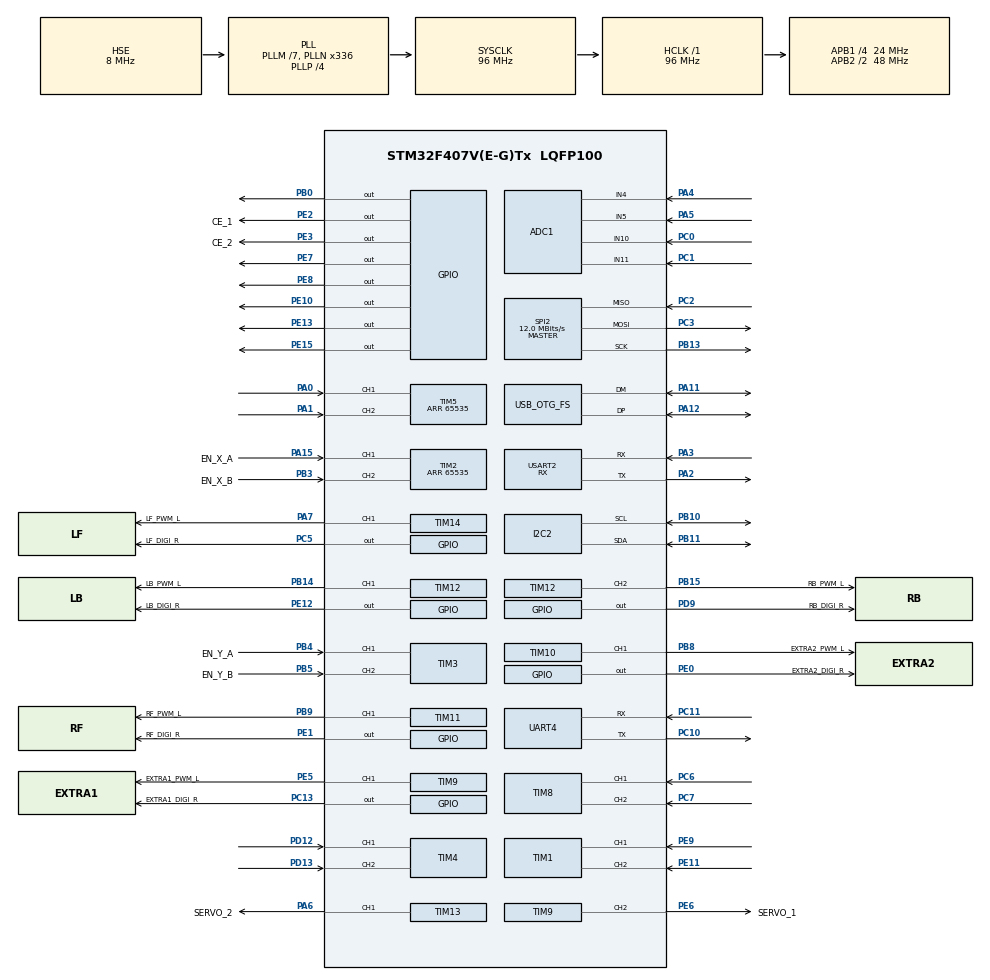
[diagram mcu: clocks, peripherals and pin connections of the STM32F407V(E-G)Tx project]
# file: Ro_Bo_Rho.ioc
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ADC1.Channel-3\#ChannelRegularConversion=ADC_CHANNEL_4
ADC1.NbrOfConversionFlag=1
ADC1.Rank-3\#ChannelRegularConversion=1
ADC1.SamplingTime-3\#ChannelRegularConversion=ADC_SAMPLETIME_3CYCLES
ADC1.master=1
I2C2.I2C_Mode=I2C_Fast
Mcu.Family=STM32F4
Mcu.Name=STM32F407V(E-G)Tx
Mcu.Package=LQFP100
NVIC.OTG_FS_IRQn=true\:0\:0\:false\:false\:true\:false\:true\:true
NVIC.PriorityGroup=NVIC_PRIORITYGROUP_4
NVIC.USART2_IRQn=true\:0\:0\:false\:false\:true\:true\:true\:true
PA0-WKUP.GPIO_PuPd=GPIO_PULLDOWN
PA0-WKUP.GPIO_Speed=GPIO_SPEED_FREQ_VERY_HIGH
PA0-WKUP.Signal=S_TIM5_CH1
PA1.GPIO_PuPd=GPIO_PULLDOWN
PA1.GPIO_Speed=GPIO_SPEED_FREQ_VERY_HIGH
PA1.Signal=S_TIM5_CH2
PA11.Mode=Device_Only
PA11.Signal=USB_OTG_FS_DM
PA12.Mode=Device_Only
PA12.Signal=USB_OTG_FS_DP
PA15.GPIO_Label=EN_X_A
PA15.GPIO_PuPd=GPIO_NOPULL
PA15.Signal=S_TIM2_CH1_ETR
PA2.Mode=Asynchronous
PA2.Signal=USART2_TX
PA3.Mode=Asynchronous
PA3.Signal=USART2_RX
PA4.Signal=ADCx_IN4
PA5.Signal=ADCx_IN5
PA6.GPIO_Label=SERVO_2
PA6.Signal=S_TIM13_CH1
PA7.GPIO_Label=LF_PWM_L
PA7.Signal=S_TIM14_CH1
PB0.Signal=GPIO_Output
PB10.Mode=I2C
PB10.Signal=I2C2_SCL
PB11.Mode=I2C
PB11.Signal=I2C2_SDA
PB13.Mode=Full_Duplex_Master
PB13.Signal=SPI2_SCK
PB14.GPIO_Label=LB_PWM_L
PB14.Signal=S_TIM12_CH1
PB15.GPIO_Label=RB_PWM_L
PB15.Signal=S_TIM12_CH2
PB3.GPIO_Label=EN_X_B
PB3.Signal=S_TIM2_CH2
PB4.GPIO_Label=EN_Y_A
PB4.GPIO_PuPd=GPIO_PULLDOWN
PB4.Signal=S_TIM3_CH1
PB5.GPIO_Label=EN_Y_B
PB5.GPIO_PuPd=GPIO_PULLDOWN
PB5.Signal=S_TIM3_CH2
PB8.GPIO_Label=EXTRA2_PWM_L
PB8.Signal=S_TIM10_CH1
PB9.GPIO_Label=RF_PWM_L
PB9.Signal=S_TIM11_CH1
PC0.Signal=ADCx_IN10
PC1.Signal=ADCx_IN11
PC10.Mode=Asynchronous
PC10.Signal=UART4_TX
PC11.Mode=Asynchronous
PC11.Signal=UART4_RX
PC13-ANTI_TAMP.GPIO_Label=EXTRA1_DIGI_R
PC13-ANTI_TAMP.Signal=GPIO_Output
PC14-OSC32_IN.Mode=LSE-External-Oscillator
PC14-OSC32_IN.Signal=RCC_OSC32_IN
PC15-OSC32_OUT.Mode=LSE-External-Oscillator
PC15-OSC32_OUT.Signal=RCC_OSC32_OUT
PC2.Mode=Full_Duplex_Master
PC2.Signal=SPI2_MISO
PC3.Mode=Full_Duplex_Master
PC3.Signal=SPI2_MOSI
PC5.GPIO_Label=LF_DIGI_R
PC5.Signal=GPIO_Output
PC6.GPIO_PuPd=GPIO_PULLDOWN
PC6.GPIO_Speed=GPIO_SPEED_FREQ_VERY_HIGH
PC6.Signal=S_TIM8_CH1
PC7.GPIO_PuPd=GPIO_PULLDOWN
PC7.GPIO_Speed=GPIO_SPEED_FREQ_VERY_HIGH
PC7.Signal=S_TIM8_CH2
PD12.GPIO_Speed=GPIO_SPEED_FREQ_VERY_HIGH
PD12.Signal=S_TIM4_CH1
PD13.GPIO_Speed=GPIO_SPEED_FREQ_VERY_HIGH
PD13.Signal=S_TIM4_CH2
PD9.GPIO_Label=RB_DIGI_R
PD9.Signal=GPIO_Output
PE0.GPIO_Label=EXTRA2_DIGI_R
PE0.Signal=GPIO_Output
PE1.GPIO_Label=RF_DIGI_R
PE1.Signal=GPIO_Output
PE10.Signal=GPIO_Output
PE11.GPIO_PuPd=GPIO_PULLDOWN
PE11.GPIO_Speed=GPIO_SPEED_FREQ_VERY_HIGH
PE11.Signal=S_TIM1_CH2
PE12.GPIO_Label=LB_DIGI_R
PE12.Signal=GPIO_Output
PE13.Signal=GPIO_Output
PE15.Signal=GPIO_Output
PE2.GPIO_Label=CE_1
PE2.Signal=GPIO_Output
PE3.GPIO_Label=CE_2
PE3.Signal=GPIO_Output
PE5.GPIO_Label=EXTRA1_PWM_L
PE5.Signal=S_TIM9_CH1
PE6.GPIO_Label=SERVO_1
PE6.Signal=S_TIM9_CH2
PE7.Signal=GPIO_Output
PE8.Signal=GPIO_Output
PE9.GPIO_ModeDefaultPP=GPIO_MODE_AF_PP
PE9.GPIO_PuPd=GPIO_PULLDOWN
PE9.GPIO_Speed=GPIO_SPEED_FREQ_VERY_HIGH
PE9.Signal=S_TIM1_CH1
PH0-OSC_IN.Mode=HSE-External-Oscillator
PH0-OSC_IN.Signal=RCC_OSC_IN
PH1-OSC_OUT.Mode=HSE-External-Oscillator
PH1-OSC_OUT.Signal=RCC_OSC_OUT
ProjectManager.HeapSize=0x200
ProjectManager.StackSize=0x400
ProjectManager.TargetToolchain=STM32CubeIDE
RCC.48MHZClocksFreq_Value=48000000.00000001
RCC.AHBFreq_Value=96000000.00000001
RCC.APB1CLKDivider=RCC_HCLK_DIV4
RCC.APB1Freq_Value=24000000.000000004
RCC.APB1TimFreq_Value=48000000.00000001
RCC.APB2CLKDivider=RCC_HCLK_DIV2
RCC.APB2Freq_Value=48000000.00000001
RCC.APB2TimFreq_Value=96000000.00000001
RCC.CortexFreq_Value=96000000.00000001
RCC.HCLKFreq_Value=96000000.00000001
RCC.HSE_VALUE=8000000
RCC.HSI_VALUE=16000000
RCC.PLLM=7
RCC.PLLN=336
RCC.PLLP=RCC_PLLP_DIV4
RCC.PLLQ=8
RCC.SYSCLKFreq_VALUE=96000000.00000001
RCC.SYSCLKSource=RCC_SYSCLKSOURCE_PLLCLK
RCC.VCOOutputFreq_Value=384000000.00000006
SH.ADCx_IN10.0=ADC1_IN10,IN10
SH.ADCx_IN11.0=ADC1_IN11,IN11
SH.ADCx_IN4.0=ADC1_IN4,IN4
SH.ADCx_IN5.0=ADC1_IN5,IN5
SH.S_TIM10_CH1.0=TIM10_CH1,PWM Generation1 CH1
SH.S_TIM11_CH1.0=TIM11_CH1,PWM Generation1 CH1
SH.S_TIM12_CH1.0=TIM12_CH1,PWM Generation1 CH1
SH.S_TIM12_CH2.0=TIM12_CH2,PWM Generation2 CH2
SH.S_TIM13_CH1.0=TIM13_CH1,PWM Generation1 CH1
SH.S_TIM14_CH1.0=TIM14_CH1,PWM Generation1 CH1
SH.S_TIM1_CH1.0=TIM1_CH1,Encoder_Interface
SH.S_TIM1_CH2.0=TIM1_CH2,Encoder_Interface
SH.S_TIM2_CH1_ETR.0=TIM2_CH1,Encoder_Interface
SH.S_TIM2_CH2.0=TIM2_CH2,Encoder_Interface
SH.S_TIM3_CH1.0=TIM3_CH1,Encoder_Interface
SH.S_TIM3_CH2.0=TIM3_CH2,Encoder_Interface
SH.S_TIM4_CH1.0=TIM4_CH1,Encoder_Interface
SH.S_TIM4_CH2.0=TIM4_CH2,Encoder_Interface
SH.S_TIM5_CH1.0=TIM5_CH1,Encoder_Interface
SH.S_TIM5_CH2.0=TIM5_CH2,Encoder_Interface
SH.S_TIM8_CH1.0=TIM8_CH1,Encoder_Interface
SH.S_TIM8_CH2.0=TIM8_CH2,Encoder_Interface
SH.S_TIM9_CH1.0=TIM9_CH1,PWM Generation1 CH1
SH.S_TIM9_CH2.0=TIM9_CH2,PWM Generation2 CH2
SPI2.CalculateBaudRate=12.0 MBits/s
SPI2.Direction=SPI_DIRECTION_2LINES
SPI2.Mode=SPI_MODE_MASTER
SPI2.VirtualType=VM_MASTER
TIM1.EncoderMode=TIM_ENCODERMODE_TI12
TIM10.Channel=TIM_CHANNEL_1
TIM10.Period=4096-1
TIM10.Prescaler=2-1
TIM11.Channel=TIM_CHANNEL_1
TIM11.Period=4096-1
TIM11.Prescaler=2-1
TIM12.Channel-PWM\ Generation1\ CH1=TIM_CHANNEL_1
TIM12.Channel-PWM\ Generation2\ CH2=TIM_CHANNEL_2
TIM12.Period=4096-1
TIM12.Prescaler=2-1
TIM13.Channel=TIM_CHANNEL_1
TIM13.Period=4096-1
TIM13.Prescaler=2-1
TIM14.Channel=TIM_CHANNEL_1
TIM14.Period=4096-1
TIM14.Prescaler=2-1
TIM2.EncoderMode=TIM_ENCODERMODE_TI12
TIM2.Period=65535
TIM3.EncoderMode=TIM_ENCODERMODE_TI12
TIM4.EncoderMode=TIM_ENCODERMODE_TI12
TIM5.EncoderMode=TIM_ENCODERMODE_TI12
TIM5.Period=65535
TIM8.EncoderMode=TIM_ENCODERMODE_TI12
TIM9.Channel-PWM\ Generation1\ CH1=TIM_CHANNEL_1
TIM9.Channel-PWM\ Generation2\ CH2=TIM_CHANNEL_2
TIM9.Period=4096-1
TIM9.Prescaler=2-1
UART4.VirtualMode=Asynchronous
USART2.Mode=MODE_RX
USART2.VirtualMode=VM_ASYNC
USB_DEVICE.CLASS_NAME_FS=CDC
USB_DEVICE.VirtualMode-CDC_FS=Cdc
USB_DEVICE.VirtualModeFS=Cdc_FS
USB_OTG_FS.VirtualMode=Device_Only
VP_TIM10_VS_ClockSourceINT.Mode=Enable_Timer
VP_TIM11_VS_ClockSourceINT.Mode=Enable_Timer
VP_TIM13_VS_ClockSourceINT.Mode=Enable_Timer
VP_TIM14_VS_ClockSourceINT.Mode=Enable_Timer
VP_USB_DEVICE_VS_USB_DEVICE_CDC_FS.Mode=CDC_FS
board=custom

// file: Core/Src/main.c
/* USER CODE BEGIN Header */
/**
  ******************************************************************************
  * @file           : main.c
  * @brief          : Main program body
  ******************************************************************************
  * @attention
  *
  * Copyright (c) 2024 STMicroelectronics.
  * All rights reserved.
  *
  * This software is licensed under terms that can be found in the LICENSE file
  * in the root directory of this software component.
  * If no LICENSE file comes with this software, it is provided AS-IS.
  *
  ******************************************************************************
  */
/* USER CODE END Header */
#include "main.h"
#include "usb_device.h"

/* USER CODE BEGIN Includes */
#include "string.h"

#include "app_ros_comm.h"

//#include "usbd_cdc_if.h"
//#include "MPU6050.h"
//#include "Encoder_Motor.h"

#include "Inverse_Kinematics.h"

#include "Forward_Kinematics.h"

//#include <Ramp_Robot.h>
/* USER CODE END Includes */

ADC_HandleTypeDef hadc1;

I2C_HandleTypeDef hi2c2;

SPI_HandleTypeDef hspi2;

TIM_HandleTypeDef htim1;
TIM_HandleTypeDef htim2;
TIM_HandleTypeDef htim3;
TIM_HandleTypeDef htim4;
TIM_HandleTypeDef htim5;
TIM_HandleTypeDef htim8;
TIM_HandleTypeDef htim9;
TIM_HandleTypeDef htim10;
TIM_HandleTypeDef htim11;
TIM_HandleTypeDef htim12;
TIM_HandleTypeDef htim13;
TIM_HandleTypeDef htim14;

UART_HandleTypeDef huart4;
UART_HandleTypeDef huart2;

void SystemClock_Config(void);
static void MX_GPIO_Init(void);
static void MX_TIM2_Init(void);
static void MX_TIM4_Init(void);
static void MX_ADC1_Init(void);
static void MX_SPI2_Init(void);
static void MX_TIM1_Init(void);
static void MX_TIM8_Init(void);
static void MX_TIM9_Init(void);
static void MX_TIM10_Init(void);
static void MX_TIM11_Init(void);
static void MX_TIM12_Init(void);
static void MX_TIM13_Init(void);
static void MX_TIM14_Init(void);
static void MX_USART2_UART_Init(void);
static void MX_UART4_Init(void);
static void MX_I2C2_Init(void);
static void MX_TIM3_Init(void);
static void MX_TIM5_Init(void);

/* USER CODE BEGIN 0 */

int16_t count[6] = { 0 }; //LF ,LB ,RF ,RB ,EXTRA1 ,EXTRA2

int16_t RPM[6] = { 48 }; //LF ,LB ,RF ,RB ,EXTRA1 ,EXTRA2

float Vx = 0.0f;
float Vy = 0.0f;
float Vz = 0.0f;

uint8_t addr;
float Deg = 0;

long PastTime = 0;

float PID[6] = { 0 };

typedef struct {
    uint8_t move[4];
    uint8_t attack[8];
    uint8_t seting[2];
    uint8_t stickValues[4];
}ControllerData;

ControllerData Str_PS2;

uint8_t status_load_Ball;
uint8_t status_re_Ball;

uint8_t lastButtonState_load_Ball = 0;
uint8_t lastButtonState_re_Ball = 0;

//uint8_t *data = "Hello World from USB CDC\n";
//uint8_t buffer[64];
//ros_rbc_ioPacket_t  rbc_Packet_t;

/* USER CODE END 0 */

int main(void)
{

  /* MCU Configuration--------------------------------------------------------*/

  /* Reset of all peripherals, Initializes the Flash interface and the Systick. */
  HAL_Init();

  /* Configure the system clock */
  SystemClock_Config();

  /* Initialize all configured peripherals */
  MX_GPIO_Init();
  MX_TIM2_Init();
  MX_TIM4_Init();
  MX_ADC1_Init();
  MX_SPI2_Init();
  MX_TIM1_Init();
  MX_TIM8_Init();
  MX_TIM9_Init();
  MX_TIM10_Init();
  MX_TIM11_Init();
  MX_TIM12_Init();
  MX_TIM13_Init();
  MX_TIM14_Init();
  MX_USART2_UART_Init();
  MX_USB_DEVICE_Init();
  MX_UART4_Init();
  MX_I2C2_Init();
  MX_TIM3_Init();
  MX_TIM5_Init();
  /* USER CODE BEGIN 2 */
   Motor_setup_LF(&htim14   ,&htim5    ,"PC05");
   Motor_setup_LB(&htim12   ,&htim1    ,"PE12");
   Motor_setup_RF(&htim11   ,&htim8    ,"PE01");
   Motor_setup_RB(&htim12   ,&htim4    ,"PD09");
   Motor_setup_EXTRA1(&htim9,&htim3    ,"PC13");
   Motor_setup_EXTRA2(&htim10,&htim2   ,"PE00");

   Setup_Gear_Ratio(27);
   Setup_CPR(68);
   Setup_frequency_Motor(100);

   Setup_PID_LF(1.0 ,0.0 ,0.1 ,0 ,280);
   Setup_PID_LB(1.0 ,0.0 ,0.1 ,0 ,280);
   Setup_PID_RF(1.0 ,0.0 ,0.1 ,0 ,280);
   Setup_PID_RB(1.0 ,0.0 ,0.1 ,0 ,280);
//   Setup_PID_EXTRA1(0.5 ,0.1 ,0 ,0 ,280);
//   Setup_PID_EXTRA2(0.5 ,0.1 ,0 ,0 ,280);

   Setup_frequency_Forward_Kinematic(100);
   Setup_Forward_Kinematic(0.23f ,0.23f ,0.06f);

   Setup_Inverse_Kinematic(0.23f ,0.23f ,0.06f);

   //UAST2 esp_s3_zero to STM32
   HAL_UART_Receive_IT(&huart2, (uint8_t *)&Str_PS2, sizeof(Str_PS2));

   Setup_MPU6050(&hi2c2);

  /* USER CODE END 2 */

  /* Infinite loop */
  while (1)
  {

    /* USER CODE BEGIN 3 */

//	  CDC_Transmit_FS((uint8_t*)RPM ,6);
//	  HAL_Delay(1000);

	  if((uwTick - PastTime) > 10){
         if(Str_PS2.seting[1] == 1){
//		 addr = Scan_I2C(&hi2c2);

		 ReadMPU6050();
//		 app_ros_comm_runner();
//		 app_ros_comm_txPoll();

//		 Deg = getDegreeZ();

//	     Motor_DutyCycle_LF(4000);
//		 Motor_DutyCycle_LB(4000);
//		 Motor_DutyCycle_RF(-4000);
//		 Motor_DutyCycle_RB(-4000);
//	     Motor_DutyCycle_EXTRA1(4000);
//	     Motor_DutyCycle_EXTRA2(-4000);

//	    count[0] = getCount(&htim5);
//	    count[1] = getCount(&htim1);
//	    count[2] = getCount(&htim8);
//	    count[3] = getCount(&htim4);
//	    count[4] = getCount(&htim2);
//	    count[5] = getCount(&htim3);

	    RPM[0] = getRPM_TIM_Wheel(&htim5 ,LF);
	    RPM[1] = -getRPM_TIM_Wheel(&htim1 ,LB);
	    RPM[2] = getRPM_TIM_Wheel(&htim8 ,RF);
	    RPM[3] = getRPM_TIM_Wheel(&htim4 ,RB);

//	    RPM[4] = getRPM_TIM_Wheel(&htim3 ,EXTRA1);
//	    RPM[5] = getRPM_TIM_Wheel(&htim2 ,EXTRA2);

//		Odometry_Forward_Kinematic(getRPM_to_Rad_s(RPM[0]), getRPM_to_Rad_s(RPM[1]), getRPM_to_Rad_s(RPM[2]), getRPM_to_Rad_s(RPM[3]));
//		x = get_Vz();

	    Inverse_Kinematic(Vx ,Vy ,Vz);

	    PID[0] = Motor_Speed_LF(getRad_s_to_RPM(get_w_LF()) ,RPM[0]);
	    PID[1] = Motor_Speed_LB(getRad_s_to_RPM(get_w_LB()) ,RPM[1]);
	    PID[2] = Motor_Speed_RF(getRad_s_to_RPM(get_w_RF()) ,RPM[2]);
	    PID[3] = Motor_Speed_RB(getRad_s_to_RPM(get_w_RB()) ,RPM[3]);

//	    PID[0] = Motor_Speed_LF(-180 ,RPM[0]);
//	    PID[1] = Motor_Speed_LB(-180 ,RPM[1]);
//	    PID[2] = Motor_Speed_RF(-180 ,RPM[2]);
//	    PID[3] = Motor_Speed_RB(-180 ,RPM[3]);

	    if ((Str_PS2.attack[2] == 1) && (lastButtonState_load_Ball == 0)) {
	    	status_load_Ball = !status_load_Ball;
	        digitalWrite("PE10", status_load_Ball);
	    }
	    lastButtonState_load_Ball = Str_PS2.attack[2];

	    if ((Str_PS2.attack[1] == 1) && (lastButtonState_re_Ball == 0)) {
	    	status_re_Ball = !status_re_Ball;
	   	    digitalWrite("PE08", status_re_Ball);
	   	 }
	    lastButtonState_re_Ball = Str_PS2.attack[1];

	   	 if(Str_PS2.attack[5] == 1){
	   	    Motor_DutyCycle_EXTRA1(-2000);
	   	 }else if(Str_PS2.attack[7] == 1){
	   	    Motor_DutyCycle_EXTRA1(2000);
	   	 }else{
	   		Motor_DutyCycle_EXTRA1(0);
	   	 }

	   	 if(Str_PS2.attack[3] == 1){
	   	    Motor_DutyCycle_EXTRA2(4000);
	   	 }else if(Str_PS2.attack[0] == 1){
		   	Motor_DutyCycle_EXTRA2(-4000);
		 }else{
	   		Motor_DutyCycle_EXTRA2(0);
	   	 }

         }else{
        	 Motor_DutyCycle_LF(0);
        	 Motor_DutyCycle_LB(0);
        	 Motor_DutyCycle_RF(0);
        	 Motor_DutyCycle_RB(0);
        	 Motor_DutyCycle_EXTRA1(0);
        	 Motor_DutyCycle_EXTRA2(0);
         }
	    PastTime = uwTick;
	  }

  }
  /* USER CODE END 3 */
}

void SystemClock_Config(void)
{
  RCC_OscInitTypeDef RCC_OscInitStruct = {0};
  RCC_ClkInitTypeDef RCC_ClkInitStruct = {0};

  /** Configure the main internal regulator output voltage
  */
  __HAL_RCC_PWR_CLK_ENABLE();
  __HAL_PWR_VOLTAGESCALING_CONFIG(PWR_REGULATOR_VOLTAGE_SCALE1);

  /** Initializes the RCC Oscillators according to the specified parameters
  * in the RCC_OscInitTypeDef structure.
  */
  RCC_OscInitStruct.OscillatorType = RCC_OSCILLATORTYPE_HSE;
  RCC_OscInitStruct.HSEState = RCC_HSE_ON;
  RCC_OscInitStruct.PLL.PLLState = RCC_PLL_ON;
  RCC_OscInitStruct.PLL.PLLSource = RCC_PLLSOURCE_HSE;
  RCC_OscInitStruct.PLL.PLLM = 7;
  RCC_OscInitStruct.PLL.PLLN = 336;
  RCC_OscInitStruct.PLL.PLLP = RCC_PLLP_DIV4;
  RCC_OscInitStruct.PLL.PLLQ = 8;
  if (HAL_RCC_OscConfig(&RCC_OscInitStruct) != HAL_OK)
  {
    Error_Handler();
  }

  /** Initializes the CPU, AHB and APB buses clocks
  */
  RCC_ClkInitStruct.ClockType = RCC_CLOCKTYPE_HCLK|RCC_CLOCKTYPE_SYSCLK
                              |RCC_CLOCKTYPE_PCLK1|RCC_CLOCKTYPE_PCLK2;
  RCC_ClkInitStruct.SYSCLKSource = RCC_SYSCLKSOURCE_PLLCLK;
  RCC_ClkInitStruct.AHBCLKDivider = RCC_SYSCLK_DIV1;
  RCC_ClkInitStruct.APB1CLKDivider = RCC_HCLK_DIV4;
  RCC_ClkInitStruct.APB2CLKDivider = RCC_HCLK_DIV2;

  if (HAL_RCC_ClockConfig(&RCC_ClkInitStruct, FLASH_LATENCY_3) != HAL_OK)
  {
    Error_Handler();
  }
}

static void MX_ADC1_Init(void)
{

  ADC_ChannelConfTypeDef sConfig = {0};

  /** Configure the global features of the ADC (Clock, Resolution, Data Alignment and number of conversion)
  */
  hadc1.Instance = ADC1;
  hadc1.Init.ClockPrescaler = ADC_CLOCK_SYNC_PCLK_DIV2;
  hadc1.Init.Resolution = ADC_RESOLUTION_12B;
  hadc1.Init.ScanConvMode = DISABLE;
  hadc1.Init.ContinuousConvMode = DISABLE;
  hadc1.Init.DiscontinuousConvMode = DISABLE;
  hadc1.Init.ExternalTrigConvEdge = ADC_EXTERNALTRIGCONVEDGE_NONE;
  hadc1.Init.ExternalTrigConv = ADC_SOFTWARE_START;
  hadc1.Init.DataAlign = ADC_DATAALIGN_RIGHT;
  hadc1.Init.NbrOfConversion = 1;
  hadc1.Init.DMAContinuousRequests = DISABLE;
  hadc1.Init.EOCSelection = ADC_EOC_SINGLE_CONV;
  if (HAL_ADC_Init(&hadc1) != HAL_OK)
  {
    Error_Handler();
  }

  /** Configure for the selected ADC regular channel its corresponding rank in the sequencer and its sample time.
  */
  sConfig.Channel = ADC_CHANNEL_4;
  sConfig.Rank = 1;
  sConfig.SamplingTime = ADC_SAMPLETIME_3CYCLES;
  if (HAL_ADC_ConfigChannel(&hadc1, &sConfig) != HAL_OK)
  {
    Error_Handler();
  }

}

static void MX_I2C2_Init(void)
{

  hi2c2.Instance = I2C2;
  hi2c2.Init.ClockSpeed = 400000;
  hi2c2.Init.DutyCycle = I2C_DUTYCYCLE_2;
  hi2c2.Init.OwnAddress1 = 0;
  hi2c2.Init.AddressingMode = I2C_ADDRESSINGMODE_7BIT;
  hi2c2.Init.DualAddressMode = I2C_DUALADDRESS_DISABLE;
  hi2c2.Init.OwnAddress2 = 0;
  hi2c2.Init.GeneralCallMode = I2C_GENERALCALL_DISABLE;
  hi2c2.Init.NoStretchMode = I2C_NOSTRETCH_DISABLE;
  if (HAL_I2C_Init(&hi2c2) != HAL_OK)
  {
    Error_Handler();
  }

}

static void MX_SPI2_Init(void)
{

  /* SPI2 parameter configuration*/
  hspi2.Instance = SPI2;
  hspi2.Init.Mode = SPI_MODE_MASTER;
  hspi2.Init.Direction = SPI_DIRECTION_2LINES;
  hspi2.Init.DataSize = SPI_DATASIZE_8BIT;
  hspi2.Init.CLKPolarity = SPI_POLARITY_LOW;
  hspi2.Init.CLKPhase = SPI_PHASE_1EDGE;
  hspi2.Init.NSS = SPI_NSS_SOFT;
  hspi2.Init.BaudRatePrescaler = SPI_BAUDRATEPRESCALER_2;
  hspi2.Init.FirstBit = SPI_FIRSTBIT_MSB;
  hspi2.Init.TIMode = SPI_TIMODE_DISABLE;
  hspi2.Init.CRCCalculation = SPI_CRCCALCULATION_DISABLE;
  hspi2.Init.CRCPolynomial = 10;
  if (HAL_SPI_Init(&hspi2) != HAL_OK)
  {
    Error_Handler();
  }

}

static void MX_TIM1_Init(void)
{

  TIM_Encoder_InitTypeDef sConfig = {0};
  TIM_MasterConfigTypeDef sMasterConfig = {0};

  htim1.Instance = TIM1;
  htim1.Init.Prescaler = 0;
  htim1.Init.CounterMode = TIM_COUNTERMODE_UP;
  htim1.Init.Period = 65535;
  htim1.Init.ClockDivision = TIM_CLOCKDIVISION_DIV1;
  htim1.Init.RepetitionCounter = 0;
  htim1.Init.AutoReloadPreload = TIM_AUTORELOAD_PRELOAD_DISABLE;
  sConfig.EncoderMode = TIM_ENCODERMODE_TI12;
  sConfig.IC1Polarity = TIM_ICPOLARITY_RISING;
  sConfig.IC1Selection = TIM_ICSELECTION_DIRECTTI;
  sConfig.IC1Prescaler = TIM_ICPSC_DIV1;
  sConfig.IC1Filter = 0;
  sConfig.IC2Polarity = TIM_ICPOLARITY_RISING;
  sConfig.IC2Selection = TIM_ICSELECTION_DIRECTTI;
  sConfig.IC2Prescaler = TIM_ICPSC_DIV1;
  sConfig.IC2Filter = 0;
  if (HAL_TIM_Encoder_Init(&htim1, &sConfig) != HAL_OK)
  {
    Error_Handler();
  }
  sMasterConfig.MasterOutputTrigger = TIM_TRGO_RESET;
  sMasterConfig.MasterSlaveMode = TIM_MASTERSLAVEMODE_DISABLE;
  if (HAL_TIMEx_MasterConfigSynchronization(&htim1, &sMasterConfig) != HAL_OK)
  {
    Error_Handler();
  }

}

static void MX_TIM2_Init(void)
{

  TIM_Encoder_InitTypeDef sConfig = {0};
  TIM_MasterConfigTypeDef sMasterConfig = {0};

  htim2.Instance = TIM2;
  htim2.Init.Prescaler = 0;
  htim2.Init.CounterMode = TIM_COUNTERMODE_UP;
  htim2.Init.Period = 65535;
  htim2.Init.ClockDivision = TIM_CLOCKDIVISION_DIV1;
  htim2.Init.AutoReloadPreload = TIM_AUTORELOAD_PRELOAD_DISABLE;
  sConfig.EncoderMode = TIM_ENCODERMODE_TI12;
  sConfig.IC1Polarity = TIM_ICPOLARITY_RISING;
  sConfig.IC1Selection = TIM_ICSELECTION_DIRECTTI;
  sConfig.IC1Prescaler = TIM_ICPSC_DIV1;
  sConfig.IC1Filter = 0;
  sConfig.IC2Polarity = TIM_ICPOLARITY_RISING;
  sConfig.IC2Selection = TIM_ICSELECTION_DIRECTTI;
  sConfig.IC2Prescaler = TIM_ICPSC_DIV1;
  sConfig.IC2Filter = 0;
  if (HAL_TIM_Encoder_Init(&htim2, &sConfig) != HAL_OK)
  {
    Error_Handler();
  }
  sMasterConfig.MasterOutputTrigger = TIM_TRGO_RESET;
  sMasterConfig.MasterSlaveMode = TIM_MASTERSLAVEMODE_DISABLE;
  if (HAL_TIMEx_MasterConfigSynchronization(&htim2, &sMasterConfig) != HAL_OK)
  {
    Error_Handler();
  }

}

static void MX_TIM3_Init(void)
{

  TIM_Encoder_InitTypeDef sConfig = {0};
  TIM_MasterConfigTypeDef sMasterConfig = {0};

  htim3.Instance = TIM3;
  htim3.Init.Prescaler = 0;
  htim3.Init.CounterMode = TIM_COUNTERMODE_UP;
  htim3.Init.Period = 65535;
  htim3.Init.ClockDivision = TIM_CLOCKDIVISION_DIV1;
  htim3.Init.AutoReloadPreload = TIM_AUTORELOAD_PRELOAD_DISABLE;
  sConfig.EncoderMode = TIM_ENCODERMODE_TI12;
  sConfig.IC1Polarity = TIM_ICPOLARITY_RISING;
  sConfig.IC1Selection = TIM_ICSELECTION_DIRECTTI;
  sConfig.IC1Prescaler = TIM_ICPSC_DIV1;
  sConfig.IC1Filter = 0;
  sConfig.IC2Polarity = TIM_ICPOLARITY_RISING;
  sConfig.IC2Selection = TIM_ICSELECTION_DIRECTTI;
  sConfig.IC2Prescaler = TIM_ICPSC_DIV1;
  sConfig.IC2Filter = 0;
  if (HAL_TIM_Encoder_Init(&htim3, &sConfig) != HAL_OK)
  {
    Error_Handler();
  }
  sMasterConfig.MasterOutputTrigger = TIM_TRGO_RESET;
  sMasterConfig.MasterSlaveMode = TIM_MASTERSLAVEMODE_DISABLE;
  if (HAL_TIMEx_MasterConfigSynchronization(&htim3, &sMasterConfig) != HAL_OK)
  {
    Error_Handler();
  }

}

static void MX_TIM4_Init(void)
{

  TIM_Encoder_InitTypeDef sConfig = {0};
  TIM_MasterConfigTypeDef sMasterConfig = {0};

  htim4.Instance = TIM4;
  htim4.Init.Prescaler = 0;
  htim4.Init.CounterMode = TIM_COUNTERMODE_UP;
  htim4.Init.Period = 65535;
  htim4.Init.ClockDivision = TIM_CLOCKDIVISION_DIV1;
  htim4.Init.AutoReloadPreload = TIM_AUTORELOAD_PRELOAD_DISABLE;
  sConfig.EncoderMode = TIM_ENCODERMODE_TI12;
  sConfig.IC1Polarity = TIM_ICPOLARITY_RISING;
  sConfig.IC1Selection = TIM_ICSELECTION_DIRECTTI;
  sConfig.IC1Prescaler = TIM_ICPSC_DIV1;
  sConfig.IC1Filter = 0;
  sConfig.IC2Polarity = TIM_ICPOLARITY_RISING;
  sConfig.IC2Selection = TIM_ICSELECTION_DIRECTTI;
  sConfig.IC2Prescaler = TIM_ICPSC_DIV1;
  sConfig.IC2Filter = 0;
  if (HAL_TIM_Encoder_Init(&htim4, &sConfig) != HAL_OK)
  {
    Error_Handler();
  }
  sMasterConfig.MasterOutputTrigger = TIM_TRGO_RESET;
  sMasterConfig.MasterSlaveMode = TIM_MASTERSLAVEMODE_DISABLE;
  if (HAL_TIMEx_MasterConfigSynchronization(&htim4, &sMasterConfig) != HAL_OK)
  {
    Error_Handler();
  }

}

static void MX_TIM5_Init(void)
{

  TIM_Encoder_InitTypeDef sConfig = {0};
  TIM_MasterConfigTypeDef sMasterConfig = {0};

  htim5.Instance = TIM5;
  htim5.Init.Prescaler = 0;
  htim5.Init.CounterMode = TIM_COUNTERMODE_UP;
  htim5.Init.Period = 65535;
  htim5.Init.ClockDivision = TIM_CLOCKDIVISION_DIV1;
  htim5.Init.AutoReloadPreload = TIM_AUTORELOAD_PRELOAD_DISABLE;
  sConfig.EncoderMode = TIM_ENCODERMODE_TI12;
  sConfig.IC1Polarity = TIM_ICPOLARITY_RISING;
  sConfig.IC1Selection = TIM_ICSELECTION_DIRECTTI;
  sConfig.IC1Prescaler = TIM_ICPSC_DIV1;
  sConfig.IC1Filter = 0;
  sConfig.IC2Polarity = TIM_ICPOLARITY_RISING;
  sConfig.IC2Selection = TIM_ICSELECTION_DIRECTTI;
  sConfig.IC2Prescaler = TIM_ICPSC_DIV1;
  sConfig.IC2Filter = 0;
  if (HAL_TIM_Encoder_Init(&htim5, &sConfig) != HAL_OK)
  {
    Error_Handler();
  }
  sMasterConfig.MasterOutputTrigger = TIM_TRGO_RESET;
  sMasterConfig.MasterSlaveMode = TIM_MASTERSLAVEMODE_DISABLE;
  if (HAL_TIMEx_MasterConfigSynchronization(&htim5, &sMasterConfig) != HAL_OK)
  {
    Error_Handler();
  }

}

static void MX_TIM8_Init(void)
{

  TIM_Encoder_InitTypeDef sConfig = {0};
  TIM_MasterConfigTypeDef sMasterConfig = {0};

  htim8.Instance = TIM8;
  htim8.Init.Prescaler = 0;
  htim8.Init.CounterMode = TIM_COUNTERMODE_UP;
  htim8.Init.Period = 65535;
  htim8.Init.ClockDivision = TIM_CLOCKDIVISION_DIV1;
  htim8.Init.RepetitionCounter = 0;
  htim8.Init.AutoReloadPreload = TIM_AUTORELOAD_PRELOAD_DISABLE;
  sConfig.EncoderMode = TIM_ENCODERMODE_TI12;
  sConfig.IC1Polarity = TIM_ICPOLARITY_RISING;
  sConfig.IC1Selection = TIM_ICSELECTION_DIRECTTI;
  sConfig.IC1Prescaler = TIM_ICPSC_DIV1;
  sConfig.IC1Filter = 0;
  sConfig.IC2Polarity = TIM_ICPOLARITY_RISING;
  sConfig.IC2Selection = TIM_ICSELECTION_DIRECTTI;
  sConfig.IC2Prescaler = TIM_ICPSC_DIV1;
  sConfig.IC2Filter = 0;
  if (HAL_TIM_Encoder_Init(&htim8, &sConfig) != HAL_OK)
  {
    Error_Handler();
  }
  sMasterConfig.MasterOutputTrigger = TIM_TRGO_RESET;
  sMasterConfig.MasterSlaveMode = TIM_MASTERSLAVEMODE_DISABLE;
  if (HAL_TIMEx_MasterConfigSynchronization(&htim8, &sMasterConfig) != HAL_OK)
  {
    Error_Handler();
  }

}

static void MX_TIM9_Init(void)
{

  TIM_OC_InitTypeDef sConfigOC = {0};

  htim9.Instance = TIM9;
  htim9.Init.Prescaler = 2-1;
  htim9.Init.CounterMode = TIM_COUNTERMODE_UP;
  htim9.Init.Period = 4096-1;
  htim9.Init.ClockDivision = TIM_CLOCKDIVISION_DIV1;
  htim9.Init.AutoReloadPreload = TIM_AUTORELOAD_PRELOAD_DISABLE;
  if (HAL_TIM_PWM_Init(&htim9) != HAL_OK)
  {
    Error_Handler();
  }
  sConfigOC.OCMode = TIM_OCMODE_PWM1;
  sConfigOC.Pulse = 0;
  sConfigOC.OCPolarity = TIM_OCPOLARITY_HIGH;
  sConfigOC.OCFastMode = TIM_OCFAST_DISABLE;
  if (HAL_TIM_PWM_ConfigChannel(&htim9, &sConfigOC, TIM_CHANNEL_1) != HAL_OK)
  {
    Error_Handler();
  }
  if (HAL_TIM_PWM_ConfigChannel(&htim9, &sConfigOC, TIM_CHANNEL_2) != HAL_OK)
  {
    Error_Handler();
  }
  HAL_TIM_MspPostInit(&htim9);

}

static void MX_TIM10_Init(void)
{

  TIM_OC_InitTypeDef sConfigOC = {0};

  htim10.Instance = TIM10;
  htim10.Init.Prescaler = 2-1;
  htim10.Init.CounterMode = TIM_COUNTERMODE_UP;
  htim10.Init.Period = 4096-1;
  htim10.Init.ClockDivision = TIM_CLOCKDIVISION_DIV1;
  htim10.Init.AutoReloadPreload = TIM_AUTORELOAD_PRELOAD_DISABLE;
  if (HAL_TIM_Base_Init(&htim10) != HAL_OK)
  {
    Error_Handler();
  }
  if (HAL_TIM_PWM_Init(&htim10) != HAL_OK)
  {
    Error_Handler();
  }
  sConfigOC.OCMode = TIM_OCMODE_PWM1;
  sConfigOC.Pulse = 0;
  sConfigOC.OCPolarity = TIM_OCPOLARITY_HIGH;
  sConfigOC.OCFastMode = TIM_OCFAST_DISABLE;
  if (HAL_TIM_PWM_ConfigChannel(&htim10, &sConfigOC, TIM_CHANNEL_1) != HAL_OK)
  {
    Error_Handler();
  }
  HAL_TIM_MspPostInit(&htim10);

}

static void MX_TIM11_Init(void)
{

  TIM_OC_InitTypeDef sConfigOC = {0};

  htim11.Instance = TIM11;
  htim11.Init.Prescaler = 2-1;
  htim11.Init.CounterMode = TIM_COUNTERMODE_UP;
  htim11.Init.Period = 4096-1;
  htim11.Init.ClockDivision = TIM_CLOCKDIVISION_DIV1;
  htim11.Init.AutoReloadPreload = TIM_AUTORELOAD_PRELOAD_DISABLE;
  if (HAL_TIM_Base_Init(&htim11) != HAL_OK)
  {
    Error_Handler();
  }
  if (HAL_TIM_PWM_Init(&htim11) != HAL_OK)
  {
    Error_Handler();
  }
  sConfigOC.OCMode = TIM_OCMODE_PWM1;
  sConfigOC.Pulse = 0;
  sConfigOC.OCPolarity = TIM_OCPOLARITY_HIGH;
  sConfigOC.OCFastMode = TIM_OCFAST_DISABLE;
  if (HAL_TIM_PWM_ConfigChannel(&htim11, &sConfigOC, TIM_CHANNEL_1) != HAL_OK)
  {
    Error_Handler();
  }
  HAL_TIM_MspPostInit(&htim11);

}

static void MX_TIM12_Init(void)
{

  TIM_OC_InitTypeDef sConfigOC = {0};

  htim12.Instance = TIM12;
  htim12.Init.Prescaler = 2-1;
  htim12.Init.CounterMode = TIM_COUNTERMODE_UP;
  htim12.Init.Period = 4096-1;
  htim12.Init.ClockDivision = TIM_CLOCKDIVISION_DIV1;
  htim12.Init.AutoReloadPreload = TIM_AUTORELOAD_PRELOAD_DISABLE;
  if (HAL_TIM_PWM_Init(&htim12) != HAL_OK)
  {
    Error_Handler();
  }
  sConfigOC.OCMode = TIM_OCMODE_PWM1;
  sConfigOC.Pulse = 0;
  sConfigOC.OCPolarity = TIM_OCPOLARITY_HIGH;
  sConfigOC.OCFastMode = TIM_OCFAST_DISABLE;
  if (HAL_TIM_PWM_ConfigChannel(&htim12, &sConfigOC, TIM_CHANNEL_1) != HAL_OK)
  {
    Error_Handler();
  }
  if (HAL_TIM_PWM_ConfigChannel(&htim12, &sConfigOC, TIM_CHANNEL_2) != HAL_OK)
  {
    Error_Handler();
  }
  HAL_TIM_MspPostInit(&htim12);

}

static void MX_TIM13_Init(void)
{

  TIM_OC_InitTypeDef sConfigOC = {0};

  htim13.Instance = TIM13;
  htim13.Init.Prescaler = 2-1;
  htim13.Init.CounterMode = TIM_COUNTERMODE_UP;
  htim13.Init.Period = 4096-1;
  htim13.Init.ClockDivision = TIM_CLOCKDIVISION_DIV1;
  htim13.Init.AutoReloadPreload = TIM_AUTORELOAD_PRELOAD_DISABLE;
  if (HAL_TIM_Base_Init(&htim13) != HAL_OK)
  {
    Error_Handler();
  }
  if (HAL_TIM_PWM_Init(&htim13) != HAL_OK)
  {
    Error_Handler();
  }
  sConfigOC.OCMode = TIM_OCMODE_PWM1;
  sConfigOC.Pulse = 0;
  sConfigOC.OCPolarity = TIM_OCPOLARITY_HIGH;
  sConfigOC.OCFastMode = TIM_OCFAST_DISABLE;
  if (HAL_TIM_PWM_ConfigChannel(&htim13, &sConfigOC, TIM_CHANNEL_1) != HAL_OK)
  {
    Error_Handler();
  }
  HAL_TIM_MspPostInit(&htim13);

}

static void MX_TIM14_Init(void)
{

  TIM_OC_InitTypeDef sConfigOC = {0};

  htim14.Instance = TIM14;
  htim14.Init.Prescaler = 2-1;
  htim14.Init.CounterMode = TIM_COUNTERMODE_UP;
  htim14.Init.Period = 4096-1;
  htim14.Init.ClockDivision = TIM_CLOCKDIVISION_DIV1;
  htim14.Init.AutoReloadPreload = TIM_AUTORELOAD_PRELOAD_DISABLE;
  if (HAL_TIM_Base_Init(&htim14) != HAL_OK)
  {
    Error_Handler();
  }
  if (HAL_TIM_PWM_Init(&htim14) != HAL_OK)
  {
    Error_Handler();
  }
  sConfigOC.OCMode = TIM_OCMODE_PWM1;
  sConfigOC.Pulse = 0;
  sConfigOC.OCPolarity = TIM_OCPOLARITY_HIGH;
  sConfigOC.OCFastMode = TIM_OCFAST_DISABLE;
  if (HAL_TIM_PWM_ConfigChannel(&htim14, &sConfigOC, TIM_CHANNEL_1) != HAL_OK)
  {
    Error_Handler();
  }
  HAL_TIM_MspPostInit(&htim14);

}

static void MX_UART4_Init(void)
{

  huart4.Instance = UART4;
  huart4.Init.BaudRate = 115200;
  huart4.Init.WordLength = UART_WORDLENGTH_8B;
  huart4.Init.StopBits = UART_STOPBITS_1;
  huart4.Init.Parity = UART_PARITY_NONE;
  huart4.Init.Mode = UART_MODE_TX_RX;
  huart4.Init.HwFlowCtl = UART_HWCONTROL_NONE;
  huart4.Init.OverSampling = UART_OVERSAMPLING_16;
  if (HAL_UART_Init(&huart4) != HAL_OK)
  {
    Error_Handler();
  }

}

static void MX_USART2_UART_Init(void)
{

  huart2.Instance = USART2;
  huart2.Init.BaudRate = 115200;
  huart2.Init.WordLength = UART_WORDLENGTH_8B;
  huart2.Init.StopBits = UART_STOPBITS_1;
  huart2.Init.Parity = UART_PARITY_NONE;
  huart2.Init.Mode = UART_MODE_RX;
  huart2.Init.HwFlowCtl = UART_HWCONTROL_NONE;
  huart2.Init.OverSampling = UART_OVERSAMPLING_16;
  if (HAL_UART_Init(&huart2) != HAL_OK)
  {
    Error_Handler();
  }

}

static void MX_GPIO_Init(void)
{
  GPIO_InitTypeDef GPIO_InitStruct = {0};

  /* GPIO Ports Clock Enable */
  __HAL_RCC_GPIOE_CLK_ENABLE();
  __HAL_RCC_GPIOC_CLK_ENABLE();
  __HAL_RCC_GPIOH_CLK_ENABLE();
  __HAL_RCC_GPIOA_CLK_ENABLE();
  __HAL_RCC_GPIOB_CLK_ENABLE();
  __HAL_RCC_GPIOD_CLK_ENABLE();

  /*Configure GPIO pin Output Level */
  HAL_GPIO_WritePin(GPIOE, CE_1_Pin|CE_2_Pin|GPIO_PIN_7|GPIO_PIN_8
                          |GPIO_PIN_10|LB_DIGI_R_Pin|GPIO_PIN_13|GPIO_PIN_15
                          |EXTRA2_DIGI_R_Pin|RF_DIGI_R_Pin, GPIO_PIN_RESET);

  /*Configure GPIO pin Output Level */
  HAL_GPIO_WritePin(GPIOC, EXTRA1_DIGI_R_Pin|LF_DIGI_R_Pin, GPIO_PIN_RESET);

  /*Configure GPIO pin Output Level */
  HAL_GPIO_WritePin(GPIOB, GPIO_PIN_0, GPIO_PIN_RESET);

  /*Configure GPIO pin Output Level */
  HAL_GPIO_WritePin(RB_DIGI_R_GPIO_Port, RB_DIGI_R_Pin, GPIO_PIN_RESET);

  /*Configure GPIO pins : CE_1_Pin CE_2_Pin PE7 PE8
                           PE10 LB_DIGI_R_Pin PE13 PE15
                           EXTRA2_DIGI_R_Pin RF_DIGI_R_Pin */
  GPIO_InitStruct.Pin = CE_1_Pin|CE_2_Pin|GPIO_PIN_7|GPIO_PIN_8
                          |GPIO_PIN_10|LB_DIGI_R_Pin|GPIO_PIN_13|GPIO_PIN_15
                          |EXTRA2_DIGI_R_Pin|RF_DIGI_R_Pin;
  GPIO_InitStruct.Mode = GPIO_MODE_OUTPUT_PP;
  GPIO_InitStruct.Pull = GPIO_NOPULL;
  GPIO_InitStruct.Speed = GPIO_SPEED_FREQ_LOW;
  HAL_GPIO_Init(GPIOE, &GPIO_InitStruct);

  /*Configure GPIO pins : EXTRA1_DIGI_R_Pin LF_DIGI_R_Pin */
  GPIO_InitStruct.Pin = EXTRA1_DIGI_R_Pin|LF_DIGI_R_Pin;
  GPIO_InitStruct.Mode = GPIO_MODE_OUTPUT_PP;
  GPIO_InitStruct.Pull = GPIO_NOPULL;
  GPIO_InitStruct.Speed = GPIO_SPEED_FREQ_LOW;
  HAL_GPIO_Init(GPIOC, &GPIO_InitStruct);

  /*Configure GPIO pin : PB0 */
  GPIO_InitStruct.Pin = GPIO_PIN_0;
  GPIO_InitStruct.Mode = GPIO_MODE_OUTPUT_PP;
  GPIO_InitStruct.Pull = GPIO_NOPULL;
  GPIO_InitStruct.Speed = GPIO_SPEED_FREQ_LOW;
  HAL_GPIO_Init(GPIOB, &GPIO_InitStruct);

  /*Configure GPIO pin : RB_DIGI_R_Pin */
  GPIO_InitStruct.Pin = RB_DIGI_R_Pin;
  GPIO_InitStruct.Mode = GPIO_MODE_OUTPUT_PP;
  GPIO_InitStruct.Pull = GPIO_NOPULL;
  GPIO_InitStruct.Speed = GPIO_SPEED_FREQ_LOW;
  HAL_GPIO_Init(RB_DIGI_R_GPIO_Port, &GPIO_InitStruct);

}

/* USER CODE BEGIN 4 */
void HAL_UART_RxCpltCallback(UART_HandleTypeDef *huart)
{
	HAL_UART_Receive_IT(&huart2,(uint8_t *)&Str_PS2, sizeof(Str_PS2));

//	Vx = map(Joy[1], 0.0f, 255.0f, -128.0f, 127.0f);
//	Vy = map(Joy[0], 0.0f, 255.0f, -128.0f, 127.0f);
//	Vz = map(Joy[3], 0.0f, 255.0f, -128.0f, 127.0f);

	Vx = map(Str_PS2.stickValues[1], 0.0f, 255.0f, 2.0f, -2.0f);
	Vy = map(Str_PS2.stickValues[0], 0.0f, 255.0f, 2.0f, -2.0f);
	Vz = map(Str_PS2.stickValues[3], 0.0f, 255.0f, 4.0f, -4.0f);
}
/* USER CODE END 4 */

void Error_Handler(void)
{
  __disable_irq();
  while (1)
  {
  }
}
